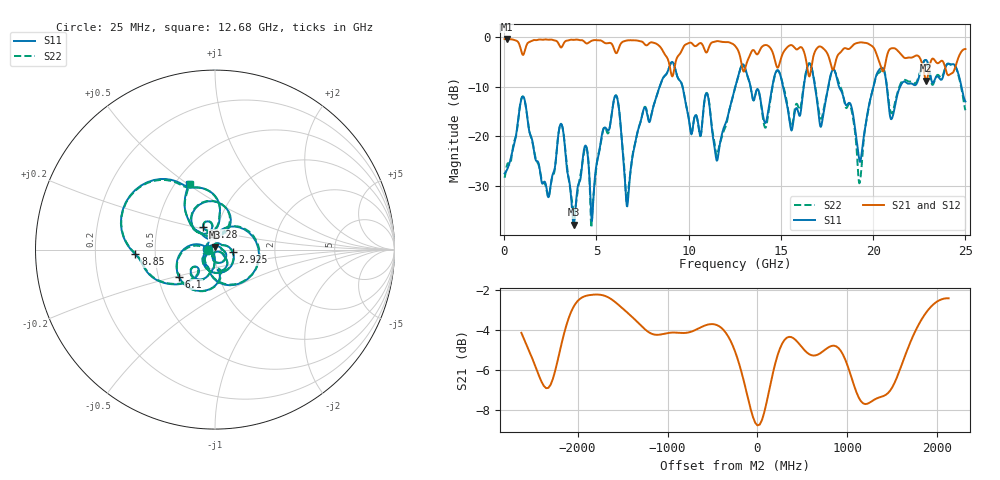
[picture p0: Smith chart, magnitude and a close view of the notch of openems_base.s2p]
! R_s4_rect_cap5: Finite board 24 × 16 mm, via L1 → L4, a capacitor between the planes 5 mm away, no return via
! stackup: 4-layer 1.6 mm FR-4
! ports: 1 L1, 2 L4
! openEMS 0.37.0, staircase, base mesh (dfine 0.07 mm), 660192 cells
# Hz S RI R 50
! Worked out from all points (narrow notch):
!   1000 points, 25 MHz to 25 GHz, reference 50 ohm
!   highest |S21| = -0.40 dB at 150 MHz (marker M1); lowest = -8.8 dB at 22.88 GHz (marker M2)
!   notch at M2: 6.7 dB deep, 439 MHz wide at half that depth
!   lowest |S11| = -37.8 dB at 3.775 GHz (marker M3), VSWR 1.03, Z = 49.9 + j1.28 ohm
!   |S11| at or under -10 dB: start of sweep to 8.427 GHz; 9.668 GHz to 12.53 GHz (2.862 GHz wide, 25.8 % of centre); 18.15 GHz to 20.01 GHz (1.862 GHz wide, 9.76 % of centre)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
!   |S22| runs from -38.4 to -4.6 dB; largest |S21 - S12| = 0.0059
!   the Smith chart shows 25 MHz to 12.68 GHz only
!   S11 on the Smith chart (normalised r, x): 25 MHz: 0.92, +0.01; 2.925 GHz: 1.22, -0.03; 6.1 GHz: 0.64, -0.21; 8.85 GHz: 0.38, -0.03; 10.28 GHz: 0.85, +0.22; 12.68 GHz: 0.58, +0.51
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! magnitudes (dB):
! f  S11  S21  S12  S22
! 25 MHz  -27.5  -0.4  -0.4  -28.3
! 150 MHz  -26.8  -0.4  -0.4  -25.8
! 1 GHz  -12.0  -3.5  -3.6  -11.9
! 2.35 GHz  -31.6  -0.5  -0.5  -31.8
! 2.925 GHz  -20.1  -1.2  -1.2  -20.0
! 3.775 GHz  -37.8  -0.6  -0.5  -35.0
! 4.2 GHz  -26.7  -0.6  -0.6  -26.4
! 4.775 GHz  -36.6  -0.7  -0.7  -35.3
! 6.1 GHz  -12.0  -3.2  -3.3  -11.9
! 6.675 GHz  -34.1  -0.7  -0.7  -32.6
! 8.35 GHz  -10.8  -1.6  -1.6  -10.8
! 8.85 GHz  -7.0  -4.3  -4.3  -7.1
! 10.28 GHz  -17.0  -1.6  -1.6  -16.9
! 12.53 GHz  -10.1  -1.8  -1.8  -10.1
! 12.68 GHz  -8.1  -2.6  -2.6  -8.2
! 15.57 GHz  -18.8  -1.6  -1.6  -18.0
! 16.68 GHz  -6.4  -5.5  -5.5  -6.3
! 19.27 GHz  -25.1  -1.1  -1.1  -29.3
! 20.18 GHz  -7.7  -3.3  -3.3  -7.8
! 20.85 GHz  -14.0  -2.7  -2.7  -13.2
! 22.88 GHz  -4.6  -8.8  -8.8  -4.8
! 25 GHz  -13.0  -2.4  -2.4  -14.7
